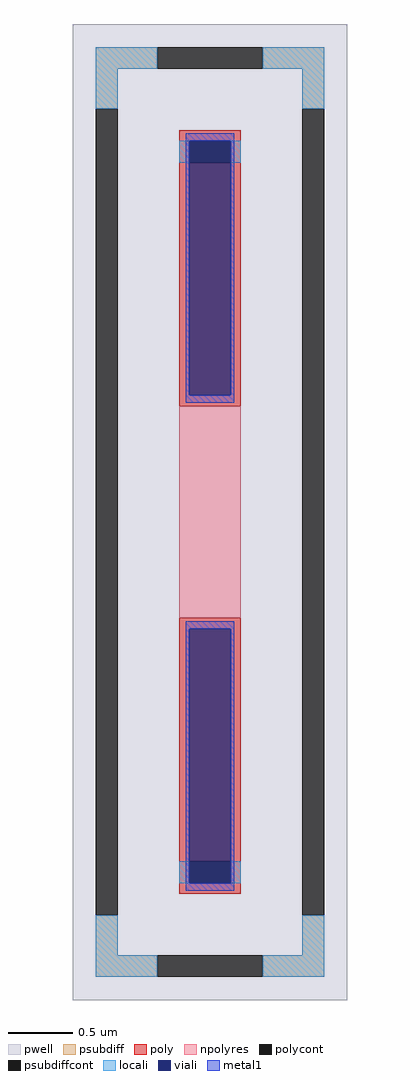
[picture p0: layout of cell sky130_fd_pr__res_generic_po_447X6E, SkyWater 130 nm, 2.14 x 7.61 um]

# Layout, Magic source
magic
tech sky130A
magscale 1 2
<< pwell >>
rect -214 -761 214 761
<< psubdiff >>
rect -178 691 -82 725
rect 82 691 178 725
rect -178 629 -144 691
rect 144 629 178 691
rect -178 -691 -144 -629
rect 144 -691 178 -629
rect -178 -725 -82 -691
rect 82 -725 178 -691
<< psubdiffcont >>
rect -82 691 82 725
rect -178 -629 -144 629
rect 144 -629 178 629
rect -82 -725 82 -691
<< poly >>
rect -48 579 48 595
rect -48 545 -32 579
rect 32 545 48 579
rect -48 165 48 545
rect -48 -545 48 -165
rect -48 -579 -32 -545
rect 32 -579 48 -545
rect -48 -595 48 -579
<< polycont >>
rect -32 545 32 579
rect -32 -579 32 -545
<< npolyres >>
rect -48 -165 48 165
<< locali >>
rect -178 691 -82 725
rect 82 691 178 725
rect -178 629 -144 691
rect 144 629 178 691
rect -48 545 -32 579
rect 32 545 48 579
rect -48 -579 -32 -545
rect 32 -579 48 -545
rect -178 -691 -144 -629
rect 144 -691 178 -629
rect -178 -725 -82 -691
rect 82 -725 178 -691
<< viali >>
rect -32 545 32 579
rect -32 182 32 545
rect -32 -545 32 -182
rect -32 -579 32 -545
<< metal1 >>
rect -38 579 38 591
rect -38 182 -32 579
rect 32 182 38 579
rect -38 170 38 182
rect -38 -182 38 -170
rect -38 -579 -32 -182
rect 32 -579 38 -182
rect -38 -591 38 -579
<< properties >>
string FIXED_BBOX -161 -708 161 708
string gencell sky130_fd_pr__res_generic_po
string library sky130
string parameters w 0.48 l 1.650 m 1 nx 1 wmin 0.330 lmin 1.650 rho 48.2 val 165.687 dummy 0 dw 0.0 term 0.0 sterm 0.0 caplen 0.4 snake 0 guard 1 glc 1 grc 1 gtc 1 gbc 1 roverlap 0 endcov 100 full_metal 1 hv_guard 0 n_guard 0 vias 1 viagb 0 viagt 0 viagl 0 viagr 0
<< end >>
